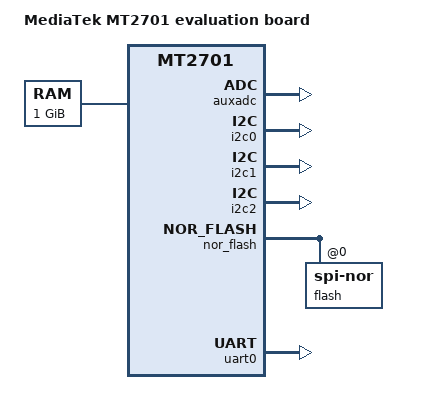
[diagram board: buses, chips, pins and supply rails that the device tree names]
/*
 * Copyright (c) 2015 MediaTek Inc.
 * Author: Erin Lo <erin.lo@mediatek.com>
 *
 * This program is free software; you can redistribute it and/or modify
 * it under the terms of the GNU General Public License version 2 as
 * published by the Free Software Foundation.
 *
 * This program is distributed in the hope that it will be useful,
 * but WITHOUT ANY WARRANTY; without even the implied warranty of
 * MERCHANTABILITY or FITNESS FOR A PARTICULAR PURPOSE.  See the
 * GNU General Public License for more details.
 */

/dts-v1/;
#include "mt2701.dtsi"

/ {
	model = "MediaTek MT2701 evaluation board";
	compatible = "mediatek,mt2701-evb", "mediatek,mt2701";

	memory {
		reg = <0 0x80000000 0 0x40000000>;
	};
};

&auxadc {
	status = "okay";
};

&i2c0 {
	pinctrl-names = "default";
	pinctrl-0 = <&i2c0_pins_a>;
	status = "okay";
};

&i2c1 {
	pinctrl-names = "default";
	pinctrl-0 = <&i2c1_pins_a>;
	status = "okay";
};

&i2c2 {
	pinctrl-names = "default";
	pinctrl-0 = <&i2c2_pins_a>;
	status = "okay";
};

&pio {
	i2c0_pins_a: i2c0@0 {
		pins1 {
			pinmux = <MT2701_PIN_75_SDA0__FUNC_SDA0>,
				 <MT2701_PIN_76_SCL0__FUNC_SCL0>;
			bias-disable;
		};
	};

	i2c1_pins_a: i2c1@0 {
		pins1 {
			pinmux = <MT2701_PIN_57_SDA1__FUNC_SDA1>,
				 <MT2701_PIN_58_SCL1__FUNC_SCL1>;
			bias-disable;
		};
	};

	i2c2_pins_a: i2c2@0 {
		pins1 {
			pinmux = <MT2701_PIN_77_SDA2__FUNC_SDA2>,
				 <MT2701_PIN_78_SCL2__FUNC_SCL2>;
			bias-disable;
		};
	};

	spi_pins_a: spi0@0 {
		pins_spi {
			pinmux = <MT2701_PIN_53_SPI0_CSN__FUNC_SPI0_CS>,
				 <MT2701_PIN_54_SPI0_CK__FUNC_SPI0_CK>,
				 <MT2701_PIN_55_SPI0_MI__FUNC_SPI0_MI>,
				 <MT2701_PIN_56_SPI0_MO__FUNC_SPI0_MO>;
			bias-disable;
		};
	};

	spi_pins_b: spi1@0 {
		pins_spi {
			pinmux = <MT2701_PIN_7_SPI1_CSN__FUNC_SPI1_CS>,
				 <MT2701_PIN_8_SPI1_MI__FUNC_SPI1_MI>,
				 <MT2701_PIN_9_SPI1_MO__FUNC_SPI1_MO>,
				 <MT2701_PIN_199_SPI1_CLK__FUNC_SPI1_CK>;
			bias-disable;
		};
	};

	spi_pins_c: spi2@0 {
		pins_spi {
			pinmux = <MT2701_PIN_101_SPI2_CSN__FUNC_SPI2_CS>,
				 <MT2701_PIN_102_SPI2_MI__FUNC_SPI2_MI>,
				 <MT2701_PIN_103_SPI2_MO__FUNC_SPI2_MO>,
				 <MT2701_PIN_104_SPI2_CLK__FUNC_SPI2_CK>;
			bias-disable;
		};
	};
};

&spi0 {
	pinctrl-names = "default";
	pinctrl-0 = <&spi_pins_a>;
	status = "disabled";
};

&spi1 {
	pinctrl-names = "default";
	pinctrl-0 = <&spi_pins_b>;
	status = "disabled";
};

&spi2 {
	pinctrl-names = "default";
	pinctrl-0 = <&spi_pins_c>;
	status = "disabled";
};

&nor_flash {
	pinctrl-names = "default";
	pinctrl-0 = <&nor_pins_default>;
	status = "okay";
	flash@0 {
		compatible = "jedec,spi-nor";
		reg = <0>;
	};
};

&pio {
	nor_pins_default: nor {
		pins1 {
			pinmux = <MT2701_PIN_240_EXT_XCS__FUNC_EXT_XCS>,
				 <MT2701_PIN_241_EXT_SCK__FUNC_EXT_SCK>,
				 <MT2701_PIN_239_EXT_SDIO0__FUNC_EXT_SDIO0>,
				 <MT2701_PIN_238_EXT_SDIO1__FUNC_EXT_SDIO1>,
				 <MT2701_PIN_237_EXT_SDIO2__FUNC_EXT_SDIO2>,
				 <MT2701_PIN_236_EXT_SDIO3__FUNC_EXT_SDIO3>;
			drive-strength = <MTK_DRIVE_4mA>;
			bias-pull-up;
		};
	};
};

&uart0 {
	status = "okay";
};
